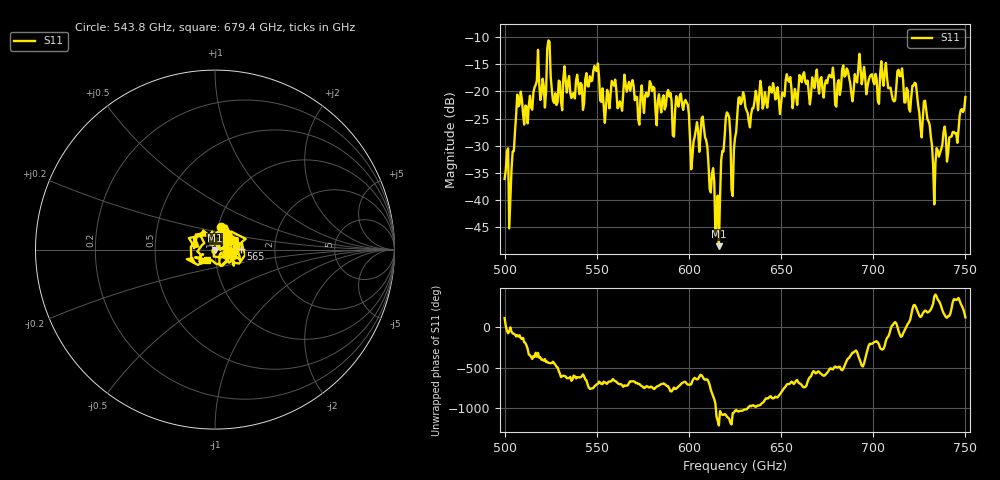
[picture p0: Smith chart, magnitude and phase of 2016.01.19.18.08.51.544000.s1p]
!Created with skrf (http://scikit-rf.org).
# GHz S RI R 50.0
!freq ReS11 ImS11
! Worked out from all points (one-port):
!   401 points, 500 GHz to 750 GHz, reference 50 ohm
!   lowest |S11| = -48.4 dB at 616.2 GHz (marker M1), VSWR 1.01, Z = 49.8 - j0.288 ohm
!   |S11| at or under -10 dB: start of sweep to end of sweep
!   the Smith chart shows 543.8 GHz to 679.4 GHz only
!   S11 on the Smith chart (normalised r, x): 543.8 GHz: 1.04, +0.26; 565 GHz: 1.33, +0.01; 679.4 GHz: 0.91, -0.11
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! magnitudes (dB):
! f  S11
! 500 GHz  -36.1
! 503.8 GHz  -34.3
! 508.1 GHz  -22.4
! 520.6 GHz  -17.7
! 524.4 GHz  -10.8
! 526.9 GHz  -22.1
! 531.2 GHz  -23.4
! 543.8 GHz  -17.7
! 549.4 GHz  -16.1
! 553.1 GHz  -19.4
! 562.5 GHz  -21.8
! 565 GHz  -16.9
! 593.8 GHz  -22.2
! 598.8 GHz  -22.0
! 601.9 GHz  -32.0
! 608.1 GHz  -26.7
! 616.2 GHz  -48.4
! 620.6 GHz  -23.8
! 625 GHz  -28.5
! 628.1 GHz  -22.3
! 656.2 GHz  -23.1
! 679.4 GHz  -22.5
! 687.5 GHz  -18.4
! 714.4 GHz  -17.2
! 718.8 GHz  -19.8
! 728.8 GHz  -23.3
! 733.8 GHz  -33.1
! 750 GHz  -21.0
